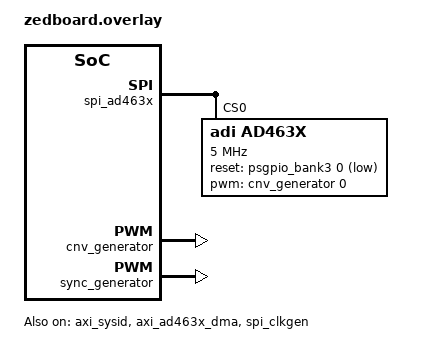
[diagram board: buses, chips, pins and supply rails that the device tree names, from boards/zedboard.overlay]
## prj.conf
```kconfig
CONFIG_EEPROM=y
CONFIG_EEPROM_ADI_AXI_SYSID=y
CONFIG_CLOCK_CONTROL=y
CONFIG_CLOCK_CONTROL_ADI_AXI_CLKGEN=y
CONFIG_DMA=y
CONFIG_DMA_ADI_AXI_DMAC=y
CONFIG_PWM=y
CONFIG_PWM_ADI_AXI_PWMGEN=y
CONFIG_SPI=y
CONFIG_SPI_ADI_AXI_SPI_ENGINE=y
CONFIG_GPIO=y
CONFIG_ADC=y
CONFIG_ADC_AD463X=y
CONFIG_LOG=y
# Debug: synchronous logging so we see output up to the exact hang point,
# instead of deferred logs that never flush if boot hangs early.
CONFIG_LOG_MODE_IMMEDIATE=y
CONFIG_CACHE_MANAGEMENT=y
CONFIG_NOCACHE_MEMORY=y

# Cortex-A9 (cortex_a_r AArch32) keeps small, fixed per-mode banked stacks
# (SYS/SVC/exception), and these have no overflow guard. The default sizes
# (1 KB SYS, 512 B SVC, 256 B exception) are too small for this driver's
# DMA-completion ISR path combined with CONFIG_LOG_MODE_IMMEDIATE, which
# formats and pushes to the UART from ISR context. Overflow silently
# corrupts adjacent memory and derails control flow (branch to a bogus
# address -> prefetch/data abort). Give the interrupt/exception path room.

CONFIG_ARMV7_EXCEPTION_STACK_SIZE=8192
CONFIG_ARMV7_FIQ_STACK_SIZE=8192
CONFIG_ARMV7_SVC_STACK_SIZE=8192
CONFIG_ARMV7_SYS_STACK_SIZE=8192
CONFIG_IDLE_STACK_SIZE=8192
CONFIG_ISR_STACK_SIZE=8192
CONFIG_MAIN_STACK_SIZE=8192
CONFIG_SYSTEM_WORKQUEUE_STACK_SIZE=8192
```

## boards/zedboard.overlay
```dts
/*
 * Copyright (c) 2026 Analog Devices, Inc.
 * SPDX-License-Identifier: Apache-2.0
 *
 * AD4630-20 FMC card on Zedboard. Describes the AXI peripherals
 * synthesized in the PL alongside the AD4630 reference HDL design.
 */

#include <zephyr/dt-bindings/interrupt-controller/arm-gic.h>
#include <zephyr/dt-bindings/gpio/gpio.h>
#include <zephyr/dt-bindings/pwm/pwm.h>

/ {
	soc {
		axi_sysid: axi-sysid@45000000 {
			compatible = "adi,axi-sysid";
			reg = <0x45000000 0x10000>;
			size = <4096>;
			read-only;
			status = "okay";
		};

		spi_ad463x: axi-spi-engine@44a00000 {
			compatible = "adi,axi-spi-engine";
			reg = <0x44a00000 0x10000>;
			#address-cells = <1>;
			#size-cells = <0>;
			adi,ref-clock-hz = <160000000>;
			adi,data-width = <8>;
			adi,num-cs = <1>;
			status = "okay";

			ad463x: ad463x@0 {
				compatible = "adi,ad463x";
				reg = <0>;
				spi-max-frequency = <5000000>;
				#address-cells = <1>;
				#size-cells = <0>;
				#io-channel-cells = <1>;
				adi,part = "ad4630-20";
				dmas = <&axi_ad463x_dma 0>;
				dma-names = "rx";
				clocks = <&spi_clkgen>;
				pwms = <&cnv_generator 0 500 PWM_POLARITY_NORMAL>;
				adi,vref-microvolts = <5000000>;
				adi,axi-clkgen-rate-hz = <160000000>;
				adi,sample-rate-hz = <2000000>;
				adi,lane-mode = "two";
				adi,clock-mode = "spi-compat";
				adi,output-mode = "24-diff-8-com";
				/* adi,avg-frame-len = <4>; */
				/* opt-in: 30-AVERAGED_DIFF; set AD463X_REAL_BITS to 30 */
				adi,data-rate = "sdr";
				reset-gpios = <&psgpio_bank3 0 GPIO_ACTIVE_LOW>;
				status = "okay";
			};
		};

		axi_ad463x_dma: axi-dmac@44a30000 {
			compatible = "adi,axi-dmac";
			reg = <0x44a30000 0x1000>;
			interrupts = <GIC_SPI 57 IRQ_TYPE_LEVEL
				      IRQ_DEFAULT_PRIORITY>;
			#dma-cells = <1>;
			status = "okay";
		};

		spi_clkgen: axi-clkgen@44a70000 {
			compatible = "adi,axi-clkgen";
			reg = <0x44a70000 0x10000>;
			adi,parent-clock-hz = <100000000>;
			#clock-cells = <0>;
			status = "okay";
		};

		cnv_generator: axi-pwmgen@44b00000 {
			compatible = "adi,axi-pwmgen";
			reg = <0x44b00000 0x10000>;
			adi,ref-clock-hz = <100000000>;
			#pwm-cells = <3>;
			status = "okay";
		};

		sync_generator: axi-pwmgen@44c00000 {
			compatible = "adi,axi-pwmgen";
			reg = <0x44c00000 0x10000>;
			adi,ref-clock-hz = <100000000>;
			#pwm-cells = <3>;
			status = "okay";
		};

	};
};
```

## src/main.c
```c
/*
 * Copyright (c) 2026 Analog Devices, Inc.
 * SPDX-License-Identifier: Apache-2.0
 *
 * AD463x sample: capture conversion data from an AD4630/AD4631/AD4632
 * precision SAR ADC over the AXI offload data path
 * (PWMGEN CNV -> SPI Engine -> DMAC -> DDR) and print decoded codes for
 * both channels. First a one-shot batch, then continuous streaming.
 */

#include <stdio.h>
#include <zephyr/kernel.h>
#include <zephyr/device.h>
#include <zephyr/drivers/misc/adi/ad463x.h>

#include "sysid_decode.h"

#define BATCH_SAMPLES	64
#define STREAM_SAMPLES	8

/*
 * Real-bit precision of the configured output mode. The HDL left-aligns the
 * real bits in each 32-bit word, so a code is recovered with
 * (int32_t)word >> (32 - real_bits). This must match adi,part / adi,output-mode
 * in the devicetree overlay: the default (ad4630-20, 24-diff-8-com) is 20 bits;
 * use 30 for 30-avg-diff.
 */
#define AD463X_REAL_BITS	20
#define AD463X_SIGN_SHIFT	(32 - AD463X_REAL_BITS)

static uint32_t __nocache __aligned(32) batch_buf[BATCH_SAMPLES * 2];
static uint32_t __nocache __aligned(32) stream_buf[STREAM_SAMPLES * 2];

static inline int32_t ad463x_code(uint32_t word)
{
	return (int32_t)word >> AD463X_SIGN_SHIFT;
}

/* Print FPGA build information from the AXI System ID ROM, if one is present. */
static void print_board_info(void)
{
#if DT_NODE_EXISTS(DT_NODELABEL(axi_sysid))
	const struct device *sysid = DEVICE_DT_GET(DT_NODELABEL(axi_sysid));
	struct sysid_board_info info;

	if (!device_is_ready(sysid) || sysid_get_board_info(sysid, &info) != 0) {
		return;
	}

	printf("FPGA design: %s / %s (git %.12s%s)\n",
	       info.board[0] ? info.board : "unknown",
	       info.product[0] ? info.product : "unknown",
	       info.git_hash[0] ? info.git_hash : "unknown",
	       info.git_clean ? "" : "-dirty");
#endif
}

/* One-shot batch capture: fill batch_buf, then decode and print every sample. */
static int batch_capture(const struct device *dev)
{
	size_t frame = ad463x_get_frame_size(dev);
	ssize_t got;
	int n;

	printf("\n=== Batch capture (%d samples) ===\n", BATCH_SAMPLES);

	got = ad463x_read_buffer(dev, batch_buf, sizeof(batch_buf));
	if (got < 0) {
		printf("read_buffer failed: %d\n", (int)got);
		return (int)got;
	}

	n = (int)((size_t)got / frame);
	printf("%-12s %s\n", "channel 0", "channel 1");
	for (int i = 0; i < n; i++) {
		printf("%-12d %d\n",
		       ad463x_code(batch_buf[2 * i]),
		       ad463x_code(batch_buf[2 * i + 1]));
	}

	return 0;
}

/* Continuous streaming: capture back-to-back bursts and print each one. */
static void stream_loop(const struct device *dev)
{
	size_t frame = ad463x_get_frame_size(dev);

	printf("\n=== Continuous stream ===\n");
	printf("%-12s %s\n", "channel 0", "channel 1");

	while (1) {
		ssize_t got = ad463x_read_buffer(dev, stream_buf,
						 sizeof(stream_buf));

		if (got < 0) {
			printf("read_buffer failed: %d\n", (int)got);
			k_msleep(500);
			continue;
		}

		int n = (int)((size_t)got / frame);

		for (int i = 0; i < n; i++) {
			printf("%-12d %d\n",
			       ad463x_code(stream_buf[2 * i]),
			       ad463x_code(stream_buf[2 * i + 1]));
		}

		k_msleep(500);
	}
}

int main(void)
{
	const struct device *dev = DEVICE_DT_GET(DT_NODELABEL(ad463x));

	if (!device_is_ready(dev)) {
		printf("AD463x device not ready\n");
		return 0;
	}

	print_board_info();

	if (batch_capture(dev) == 0) {
		stream_loop(dev);
	}

	return 0;
}
```

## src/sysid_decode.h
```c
/*
 * Copyright (c) 2026 Analog Devices, Inc.
 * SPDX-License-Identifier: Apache-2.0
 *
 * ADI AXI System ID ROM decode helper.
 *
 * The AXI System ID core is exposed by Zephyr as a read-only EEPROM (the
 * transport). The ROM *format* — header, build-info records and checksums —
 * is decoded here, on top of the standard eeprom_read() API, so the ROM-format
 * knowledge lives with the consumer instead of inside the transport driver.
 */

#ifndef AD463X_SAMPLE_SYSID_DECODE_H_
#define AD463X_SAMPLE_SYSID_DECODE_H_

#include <string.h>
#include <zephyr/device.h>
#include <zephyr/drivers/eeprom.h>

#define SYSID_HEADER_V1		1
#define SYSID_HEADER_V2		2

struct __packed sysid_header_v1 {
	uint32_t version;
	uint32_t build_info_offs;	/* word offset into ROM */
	uint32_t board_info_offs;
	uint32_t product_info_offs;
	uint32_t custom_info_offs;
	uint32_t pr_custom_info_offs;
	uint32_t padding[9];
	uint32_t crc;
};

struct __packed sysid_build_info_v1 {
	char git_hash[44];
	char git_clean_chk[4];
	char vadj_chk[4];
	char epoch[12];
	uint8_t padding[4];
	uint32_t crc;
};

struct __packed sysid_build_info_v1_1 {
	char git_branch[28];
	char git_hash[44];
	char git_clean_chk[4];
	char vadj_chk[4];
	char epoch[12];
	uint8_t padding[4];
	uint32_t crc;
};

struct sysid_board_info {
	uint32_t header_version;
	char board[64];
	char product[64];
	char git_hash[45];
	char git_branch[29];
	bool git_clean;
};

static inline uint8_t sysid_checksum(const uint8_t *ptr, size_t len)
{
	uint8_t sum = 0;

	while (len-- != 0) {
		sum -= *ptr++;
	}

	return sum;
}

/*
 * Read a NUL-terminated string starting at ROM byte offset into dst (bounded).
 * A zero offset means "absent"; returns 0 on success, negative errno on error.
 */
static inline int sysid_read_str(const struct device *eeprom, off_t offset,
				 char *dst, size_t dst_size)
{
	size_t rom_size = eeprom_get_size(eeprom);

	dst[0] = '\0';

	if (offset == 0 || (size_t)offset >= rom_size) {
		return 0;
	}

	for (size_t i = 0; i < dst_size - 1 && (size_t)offset + i < rom_size; i++) {
		char c;
		int ret = eeprom_read(eeprom, offset + i, &c, 1);

		if (ret < 0) {
			return ret;
		}
		if (c == '\0') {
			dst[i] = '\0';
			return 0;
		}
		dst[i] = c;
	}

	dst[dst_size - 1] = '\0';
	return 0;
}

/*
 * Decode board/product/git information from the System ID ROM behind the given
 * read-only EEPROM device. Returns 0 on success, negative errno on failure.
 */
static inline int sysid_get_board_info(const struct device *eeprom,
				       struct sysid_board_info *info)
{
	struct sysid_header_v1 header;
	size_t rom_size = eeprom_get_size(eeprom);
	int ret;

	memset(info, 0, sizeof(*info));

	ret = eeprom_read(eeprom, 0, &header, sizeof(header));
	if (ret < 0) {
		return ret;
	}

	if (sysid_checksum((const uint8_t *)&header, sizeof(header)) != 0) {
		return -EFAULT;
	}

	if (header.version != SYSID_HEADER_V1 &&
	    header.version != SYSID_HEADER_V2) {
		return -ENOTSUP;
	}
	info->header_version = header.version;

	ret = sysid_read_str(eeprom, (off_t)header.board_info_offs * sizeof(uint32_t),
			     info->board, sizeof(info->board));
	if (ret < 0) {
		return ret;
	}

	ret = sysid_read_str(eeprom, (off_t)header.product_info_offs * sizeof(uint32_t),
			     info->product, sizeof(info->product));
	if (ret < 0) {
		return ret;
	}

	if (header.build_info_offs == 0) {
		return -EFAULT;
	}

	off_t build_off = (off_t)header.build_info_offs * sizeof(uint32_t);

	if (header.version == SYSID_HEADER_V2) {
		struct sysid_build_info_v1_1 build;

		if ((size_t)build_off + sizeof(build) > rom_size) {
			return -EFAULT;
		}
		ret = eeprom_read(eeprom, build_off, &build, sizeof(build));
		if (ret < 0) {
			return ret;
		}
		if (sysid_checksum((const uint8_t *)&build, sizeof(build)) != 0) {
			return -EFAULT;
		}
		memcpy(info->git_hash, build.git_hash, sizeof(build.git_hash));
		memcpy(info->git_branch, build.git_branch, sizeof(build.git_branch));
		info->git_clean = (build.git_clean_chk[0] == 't');
	} else {
		struct sysid_build_info_v1 build;

		if ((size_t)build_off + sizeof(build) > rom_size) {
			return -EFAULT;
		}
		ret = eeprom_read(eeprom, build_off, &build, sizeof(build));
		if (ret < 0) {
			return ret;
		}
		if (sysid_checksum((const uint8_t *)&build, sizeof(build)) != 0) {
			return -EFAULT;
		}
		memcpy(info->git_hash, build.git_hash, sizeof(build.git_hash));
		info->git_clean = (build.git_clean_chk[0] == 't');
	}

	return 0;
}

#endif /* AD463X_SAMPLE_SYSID_DECODE_H_ */
```
